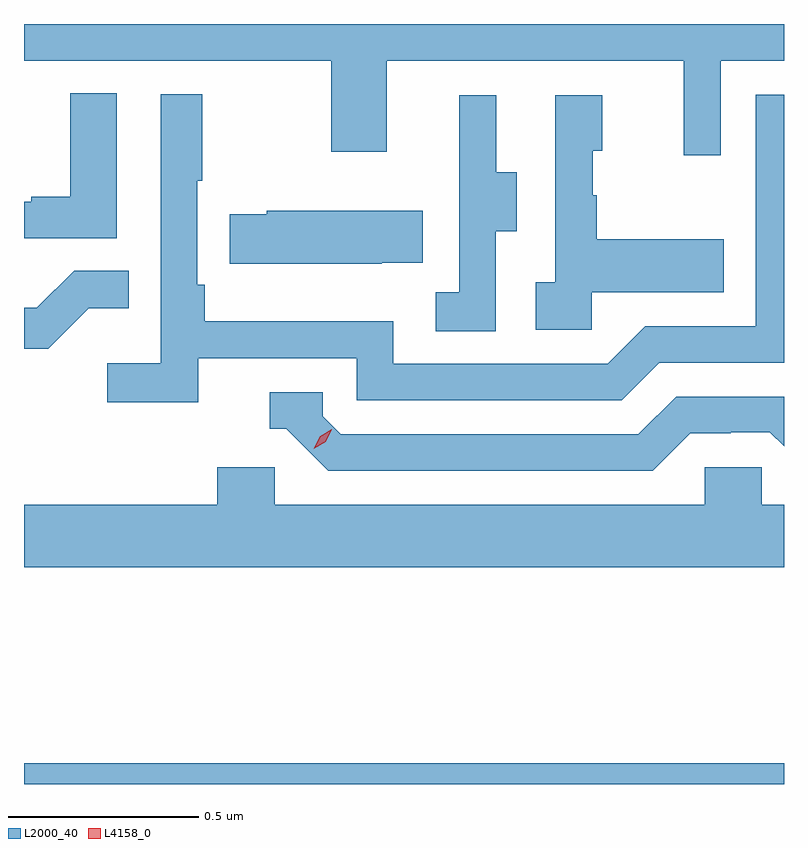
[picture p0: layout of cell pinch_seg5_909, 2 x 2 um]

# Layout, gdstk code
import gdstk
lib = gdstk.Library(unit=1e-6, precision=1e-09)
def R(c, l, rs):  # rectangles x0, y0, x1, y1
    for r in rs: c.add(gdstk.rectangle(r[:2], r[2:], *l))
def P(c, l, *ps):  # polygons
    for p in ps: c.add(gdstk.Polygon(p, *l))
L2000_40 = (2000, 40)
L4158_0 = (4158, 0)

pinch_seg5_909 = lib.new_cell('pinch_seg5_909')
R(pinch_seg5_909, L2000_40, [(868.314,876.169,870.314,876.224)])
P(pinch_seg5_909, L2000_40, [(870.147,878.072),(870.314,878.072),(870.314,878.169),(868.314,878.169),(868.314,878.072),(869.122,878.072),(869.122,877.833),(869.269,877.833),(869.269,878.072),(870.05,878.072),(870.05,877.824),(870.147,877.824)],
  [(868.558,877.987),(868.436,877.987),(868.436,877.714),(868.333,877.714),(868.333,877.701),(868.314,877.701),(868.314,877.605),(868.558,877.605)],
  [(868.772,877.29),(869.19,877.29),(869.19,877.179),(869.887,877.179),(869.986,877.278),(870.314,877.278),(870.314,877.983),(870.24,877.983),(870.24,877.374),(869.949,877.374),(869.85,877.275),(869.286,877.275),(869.286,877.387),(868.79,877.387),(868.79,877.483),(868.77,877.483),(868.77,877.756),(868.783,877.756),(868.783,877.984),(868.674,877.984),(868.674,877.276),(868.533,877.276),(868.533,877.174),(868.772,877.174)],
  [(869.556,877.624),(869.611,877.624),(869.611,877.779),(869.557,877.779),(869.557,877.981),(869.459,877.981),(869.459,877.767),(869.46,877.767),(869.46,877.463),(869.397,877.463),(869.397,877.36),(869.556,877.36)],
  [(869.808,877.463),(870.155,877.463),(870.155,877.603),(869.821,877.603),(869.821,877.718),(869.811,877.718),(869.811,877.836),(869.836,877.836),(869.836,877.981),(869.712,877.981),(869.712,877.49),(869.661,877.49),(869.661,877.365),(869.808,877.365)],
  [(869.255,877.541),(869.363,877.541),(869.363,877.678),(868.953,877.678),(868.953,877.668),(868.855,877.668),(868.855,877.538),(869.255,877.538)],
  [(868.485,877.421),(868.589,877.421),(868.589,877.52),(868.446,877.52),(868.348,877.422),(868.314,877.422),(868.314,877.314),(868.378,877.314)],
  [(870.067,877.092),(870.174,877.092),(870.174,877.095),(870.277,877.095),(870.314,877.058),(870.314,877.188),(870.03,877.188),(869.931,877.089),(869.148,877.089),(869.1,877.137),(869.1,877.2),(868.961,877.2),(868.961,877.104),(869.004,877.104),(869.115,876.993),(869.968,876.993)],
  [(870.314,876.904),(870.255,876.904),(870.255,877.002),(870.105,877.002),(870.105,876.904),(868.974,876.904),(868.974,877.002),(868.823,877.002),(868.823,876.904),(868.314,876.904),(868.314,876.74),(870.314,876.74)])
P(pinch_seg5_909, L4158_0, [(869.077,877.051),(869.077,877.051),(869.093,877.084),(869.124,877.103),(869.124,877.103),(869.124,877.102),(869.108,877.07),(869.077,877.051)])

lib.write_gds('pinch_seg5_909.gds')
